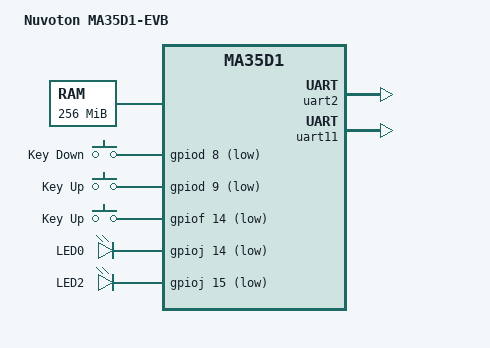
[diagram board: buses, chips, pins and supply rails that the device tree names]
// SPDX-License-Identifier: (GPL-2.0-only OR BSD-2-Clause)
/*
 * Device Tree Source for MA35D1 Evaluation Board (EVB)
 *
 * Copyright (C) 2022 Nuvoton Technology Corp.
 */

/dts-v1/;
#include "ma35d1.dtsi"

/ {
	model = "Nuvoton MA35D1-EVB";
	compatible = "nuvoton,ma35d1-evb", "nuvoton,ma35d1";

	chosen {
		bootargs = "earlycon";
		stdout-path = "serial0:115200n8";
	};

	memory@80000000 {
		device_type = "memory";
		reg = <0x0 0x80000000 0x0 0x10000000>;
	};
	
	gpio_keys_test {
		compatible = "gpio-keys";
		status = "okay";
		autorepeat;
		botton0 {
			label = "Key Down";
			linux,code = <KEY_DOWN>;
			gpios = <&gpiod 8 GPIO_ACTIVE_LOW>;
			wakeup-source;
		};
		button1{
			label ="Key Up";
			linux,code = <KEY_UP>;
			gpios = <&gpiod 9 GPIO_ACTIVE_LOW>;
			wakeup-source;
		};
		button2{
			label ="Key Up";
			linux,code = <KEY_ENTER>;
			gpios = <&gpiof 14 GPIO_ACTIVE_LOW>;
			wakeup-source;
		};
	};

	gpio_leds_test {
		compatible = "gpio-leds";
		status = "okay";
		led0 {
			label = "LED0";
			gpios = <&gpioj 14 GPIO_ACTIVE_LOW>;
		};
		led1 {
			label = "LED2";
			gpios = <&gpioj 15 GPIO_ACTIVE_LOW>;
		};
	};
};

&pinctrl {
	uart11 {
		pinctrl_uart11: uart11grp{
			nuvoton,pins =
				<SYS_GPL_MFPL_PL0MFP_UART11_nCTS	&pcfg_default>,
				<SYS_GPL_MFPL_PL1MFP_UART11_nRTS	&pcfg_default>,
				<SYS_GPL_MFPL_PL2MFP_UART11_RXD	&pcfg_default>,
				<SYS_GPL_MFPL_PL3MFP_UART11_TXD	&pcfg_default>;
		};
	};
};

&uart2 {
	status = "okay";
};

&uart11 {
	status = "okay";
	pinctrl-names = "default";
	pinctrl-0 = <&pinctrl_uart11>;
};

